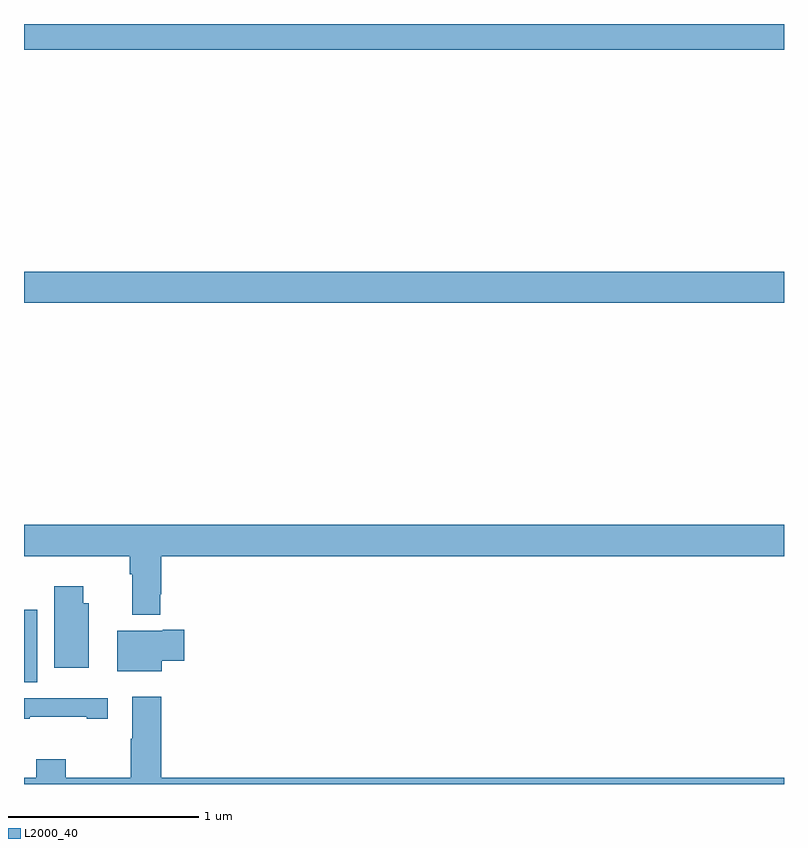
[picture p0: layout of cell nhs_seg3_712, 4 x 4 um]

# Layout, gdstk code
import gdstk
lib = gdstk.Library(unit=1e-6, precision=1e-09)
def R(c, l, rs):  # rectangles x0, y0, x1, y1
    for r in rs: c.add(gdstk.rectangle(r[:2], r[2:], *l))
def P(c, l, *ps):  # polygons
    for p in ps: c.add(gdstk.Polygon(p, *l))
L2000_40 = (2000, 40)

nhs_seg3_712 = lib.new_cell('nhs_seg3_712')
R(nhs_seg3_712, L2000_40, [(147,682.936,147.07,683.317), (147,684.932,151,685.096), (147,686.264,151,686.4)])
P(nhs_seg3_712, L2000_40, [(147.718,683.398),(147.722,683.398),(147.722,683.6),(151,683.6),(151,683.764),(147,683.764),(147,683.6),(147.557,683.6),(147.557,683.504),(147.569,683.504),(147.569,683.291),(147.718,683.291)],
  [(147.34,683.352),(147.313,683.352),(147.313,683.44),(147.158,683.44),(147.158,683.012),(147.34,683.012)],
  [(147.724,683.048),(147.844,683.048),(147.844,683.211),(147.731,683.211),(147.731,683.206),(147.491,683.206),(147.491,682.994),(147.724,682.994)],
  [(151,682.432),(147.722,682.432),(147.722,682.858),(147.569,682.858),(147.569,682.637),(147.562,682.637),(147.562,682.432),(147.219,682.432),(147.219,682.531),(147.064,682.531),(147.064,682.432),(147,682.432),(147,682.4),(151,682.4)],
  [(147.029,682.753),(147.329,682.753),(147.329,682.743),(147.442,682.743),(147.442,682.852),(147.186,682.852),(147.186,682.851),(147,682.851),(147,682.743),(147.029,682.743)])

lib.write_gds('nhs_seg3_712.gds')
